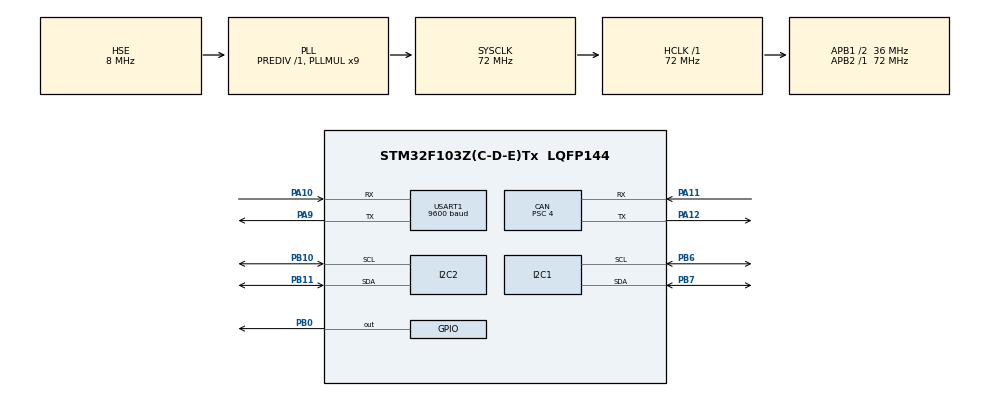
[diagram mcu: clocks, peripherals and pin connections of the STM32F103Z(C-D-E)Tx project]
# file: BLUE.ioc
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CAN.ABOM=ENABLE
CAN.BS1=CAN_BS1_15TQ
CAN.BS2=CAN_BS2_2TQ
CAN.CalculateBaudRate=500000
CAN.CalculateTimeBit=2000
CAN.CalculateTimeQuantum=111.11111111111111
CAN.NART=ENABLE
CAN.Prescaler=4
FREERTOS.Tasks01=MPUTask,40,256,StartMPUTask,Default,NULL,Dynamic,NULL,NULL;CANTask,32,256,StartCANTask,Default,NULL,Dynamic,NULL,NULL;DHTTask,8,256,StartDHTTask,Default,NULL,Dynamic,NULL,NULL;DEBUGTask,24,256,StartDEBUGTask,Default,NULL,Dynamic,NULL,NULL
FREERTOS.configTOTAL_HEAP_SIZE=15360
Mcu.Family=STM32F1
Mcu.Name=STM32F103Z(C-D-E)Tx
Mcu.Package=LQFP144
NVIC.PriorityGroup=NVIC_PRIORITYGROUP_4
NVIC.TIM6_IRQn=true\:15\:0\:false\:false\:true\:false\:false\:true\:true
NVIC.TimeBase=TIM6_IRQn
NVIC.TimeBaseIP=TIM6
OSC_IN.Mode=HSE-External-Oscillator
OSC_IN.Signal=RCC_OSC_IN
OSC_OUT.Mode=HSE-External-Oscillator
OSC_OUT.Signal=RCC_OSC_OUT
PA10.Mode=Asynchronous
PA10.Signal=USART1_RX
PA11.Mode=CAN_Activate
PA11.Signal=CAN_RX
PA12.Mode=CAN_Activate
PA12.Signal=CAN_TX
PA13.Mode=Serial_Wire
PA13.Signal=SYS_JTMS-SWDIO
PA14.Mode=Serial_Wire
PA14.Signal=SYS_JTCK-SWCLK
PA9.Mode=Asynchronous
PA9.Signal=USART1_TX
PB0.GPIO_ModeDefaultOutputPP=GPIO_MODE_OUTPUT_OD
PB0.GPIO_PuPd=GPIO_NOPULL
PB0.PinState=GPIO_PIN_SET
PB0.Signal=GPIO_Output
PB10.Mode=I2C
PB10.Signal=I2C2_SCL
PB11.Mode=I2C
PB11.Signal=I2C2_SDA
PB6.Mode=I2C
PB6.Signal=I2C1_SCL
PB7.Mode=I2C
PB7.Signal=I2C1_SDA
ProjectManager.HeapSize=0x200
ProjectManager.StackSize=0x400
ProjectManager.TargetToolchain=MDK-ARM V5
RCC.AHBFreq_Value=72000000
RCC.APB1CLKDivider=RCC_HCLK_DIV2
RCC.APB1Freq_Value=36000000
RCC.APB1TimFreq_Value=72000000
RCC.APB2Freq_Value=72000000
RCC.APB2TimFreq_Value=72000000
RCC.HCLKFreq_Value=72000000
RCC.PLLMUL=RCC_PLL_MUL9
RCC.PLLSourceVirtual=RCC_PLLSOURCE_HSE
RCC.SYSCLKFreq_VALUE=72000000
RCC.SYSCLKSource=RCC_SYSCLKSOURCE_PLLCLK
RCC.USBFreq_Value=72000000
USART1.BaudRate=9600
USART1.VirtualMode=VM_ASYNC
VP_FREERTOS_VS_CMSIS_V2.Mode=CMSIS_V2
VP_SYS_VS_tim6.Mode=TIM6
board=custom

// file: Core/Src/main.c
/* USER CODE BEGIN Header */
/**
  ******************************************************************************
  * @file           : main.c
  * @brief          : Main program body
  ******************************************************************************
  * @attention
  *
  * Copyright (c) 2026 STMicroelectronics.
  * All rights reserved.
  *
  * This software is licensed under terms that can be found in the LICENSE file
  * in the root directory of this software component.
  * If no LICENSE file comes with this software, it is provided AS-IS.
  *
  ******************************************************************************
  */
/* USER CODE END Header */
#include "main.h"
#include "cmsis_os.h"
#include "can.h"
#include "i2c.h"
#include "usart.h"
#include "gpio.h"

/* USER CODE BEGIN Includes */
#include "stdio.h"
#include "dwt.h"
#include "dht22.h"
#include "sensor.h"
#include "mpu6050.h"
#include "my_can.h"

/* USER CODE END Includes */

void SystemClock_Config(void);
void MX_FREERTOS_Init(void);

/* USER CODE BEGIN 0 */
    int fputc(int ch, FILE *f)
        {
    HAL_UART_Transmit(&huart1, (uint8_t *)&ch, 1, 0xFFFF);
    return ch;
        }

/* USER CODE END 0 */

int main(void)
{

  /* MCU Configuration--------------------------------------------------------*/

  /* Reset of all peripherals, Initializes the Flash interface and the Systick. */
  HAL_Init();

  /* Configure the system clock */
  SystemClock_Config();

  /* Initialize all configured peripherals */
  MX_GPIO_Init();
  MX_USART1_UART_Init();
  MX_I2C1_Init();
  MX_I2C2_Init();
  MX_CAN_Init();
  /* USER CODE BEGIN 2 */
  DWT_Init();
  DHT22_Init();
  MPU6050_Init();
  MY_CAN_Init();

  /* USER CODE END 2 */

  /* Init scheduler */
  osKernelInitialize();
  /* Call init function for freertos objects (in cmsis_os2.c) */
  MX_FREERTOS_Init();

  /* Start scheduler */
  osKernelStart();

  /* We should never get here as control is now taken by the scheduler */

  /* Infinite loop */
  while(1)
{
  }
}

void SystemClock_Config(void)
{
  RCC_OscInitTypeDef RCC_OscInitStruct = {0};
  RCC_ClkInitTypeDef RCC_ClkInitStruct = {0};

  /** Initializes the RCC Oscillators according to the specified parameters
  * in the RCC_OscInitTypeDef structure.
  */
  RCC_OscInitStruct.OscillatorType = RCC_OSCILLATORTYPE_HSE;
  RCC_OscInitStruct.HSEState = RCC_HSE_ON;
  RCC_OscInitStruct.HSEPredivValue = RCC_HSE_PREDIV_DIV1;
  RCC_OscInitStruct.HSIState = RCC_HSI_ON;
  RCC_OscInitStruct.PLL.PLLState = RCC_PLL_ON;
  RCC_OscInitStruct.PLL.PLLSource = RCC_PLLSOURCE_HSE;
  RCC_OscInitStruct.PLL.PLLMUL = RCC_PLL_MUL9;
  if (HAL_RCC_OscConfig(&RCC_OscInitStruct) != HAL_OK)
  {
    Error_Handler();
  }

  /** Initializes the CPU, AHB and APB buses clocks
  */
  RCC_ClkInitStruct.ClockType = RCC_CLOCKTYPE_HCLK|RCC_CLOCKTYPE_SYSCLK
                              |RCC_CLOCKTYPE_PCLK1|RCC_CLOCKTYPE_PCLK2;
  RCC_ClkInitStruct.SYSCLKSource = RCC_SYSCLKSOURCE_PLLCLK;
  RCC_ClkInitStruct.AHBCLKDivider = RCC_SYSCLK_DIV1;
  RCC_ClkInitStruct.APB1CLKDivider = RCC_HCLK_DIV2;
  RCC_ClkInitStruct.APB2CLKDivider = RCC_HCLK_DIV1;

  if (HAL_RCC_ClockConfig(&RCC_ClkInitStruct, FLASH_LATENCY_2) != HAL_OK)
  {
    Error_Handler();
  }
}

void HAL_TIM_PeriodElapsedCallback(TIM_HandleTypeDef *htim)
{
  if (htim->Instance == TIM6)
  {
    HAL_IncTick();
  }
}

void Error_Handler(void)
{
  __disable_irq();
  while (1)
  {
  }
}

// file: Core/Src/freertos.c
/* USER CODE BEGIN Header */
/**
  ******************************************************************************
  * File Name          : freertos.c
  * Description        : Code for freertos applications
  ******************************************************************************
  * @attention
  *
  * Copyright (c) 2026 STMicroelectronics.
  * All rights reserved.
  *
  * This software is licensed under terms that can be found in the LICENSE file
  * in the root directory of this software component.
  * If no LICENSE file comes with this software, it is provided AS-IS.
  *
  ******************************************************************************
  */
/* USER CODE END Header */

#include "FreeRTOS.h"
#include "task.h"
#include "main.h"
#include "cmsis_os.h"

/* USER CODE BEGIN Includes */
#include "stdio.h"
#include "my_can.h"
#include "dht22.h"
#include "mpu6050.h"
#include "sensor.h"

/* USER CODE END Includes */

/* Definitions for MPUTask */
osThreadId_t MPUTaskHandle;
const osThreadAttr_t MPUTask_attributes = {
  .name = "MPUTask",
  .stack_size = 256 * 4,
  .priority = (osPriority_t) osPriorityHigh,
};
/* Definitions for CANTask */
osThreadId_t CANTaskHandle;
const osThreadAttr_t CANTask_attributes = {
  .name = "CANTask",
  .stack_size = 256 * 4,
  .priority = (osPriority_t) osPriorityAboveNormal,
};
/* Definitions for DHTTask */
osThreadId_t DHTTaskHandle;
const osThreadAttr_t DHTTask_attributes = {
  .name = "DHTTask",
  .stack_size = 256 * 4,
  .priority = (osPriority_t) osPriorityLow,
};
/* Definitions for DEBUGTask */
osThreadId_t DEBUGTaskHandle;
const osThreadAttr_t DEBUGTask_attributes = {
  .name = "DEBUGTask",
  .stack_size = 256 * 4,
  .priority = (osPriority_t) osPriorityNormal,
};

void StartMPUTask(void *argument);
void StartCANTask(void *argument);
void StartDHTTask(void *argument);
void StartDEBUGTask(void *argument);

void MX_FREERTOS_Init(void); /* (MISRA C 2004 rule 8.1) */

void MX_FREERTOS_Init(void) {

  /* Create the thread(s) */
  /* creation of MPUTask */
  MPUTaskHandle = osThreadNew(StartMPUTask, NULL, &MPUTask_attributes);

  /* creation of CANTask */
  CANTaskHandle = osThreadNew(StartCANTask, NULL, &CANTask_attributes);

  /* creation of DHTTask */
  DHTTaskHandle = osThreadNew(StartDHTTask, NULL, &DHTTask_attributes);

  /* creation of DEBUGTask */
  DEBUGTaskHandle = osThreadNew(StartDEBUGTask, NULL, &DEBUGTask_attributes);

}

void StartMPUTask(void *argument)
{
  /* USER CODE BEGIN StartMPUTask */
  /* Infinite loop */
  for(;;)
  {
      MPU6050_Read_Data();
      MPU6050_Update_Angle(0.01f);
      Vehicle_State_Update();
      osDelay(10);
  }
  /* USER CODE END StartMPUTask */
}

void StartCANTask(void *argument)
{
  /* USER CODE BEGIN StartCANTask */
  uint32_t cnt = 0;
  /* Infinite loop */
  for(;;)
  {
      MY_CAN_Send_Attitude();    // 0x100
      MY_CAN_Send_Raw();         // 0x101

      cnt++;
      if (cnt >= 5)              // 5 �� 20ms = 100ms
      {
          cnt = 0;
          MY_CAN_Send_State();   // 0x300
      }

      osDelay(20);
  }
  /* USER CODE END StartCANTask */
}

void StartDHTTask(void *argument)
{
  /* USER CODE BEGIN StartDHTTask */
  /* Infinite loop */
  for(;;)
  {
      DHT22_Task();
      MY_CAN_Send_Env();         // 0x200
      osDelay(5000);
  }
  /* USER CODE END StartDHTTask */
}

void StartDEBUGTask(void *argument)
{
  /* USER CODE BEGIN StartDEBUGTask */
  /* Infinite loop */
  for(;;)
  {
      Sensor_Send();
      osDelay(1000);
  }
  /* USER CODE END StartDEBUGTask */
}
